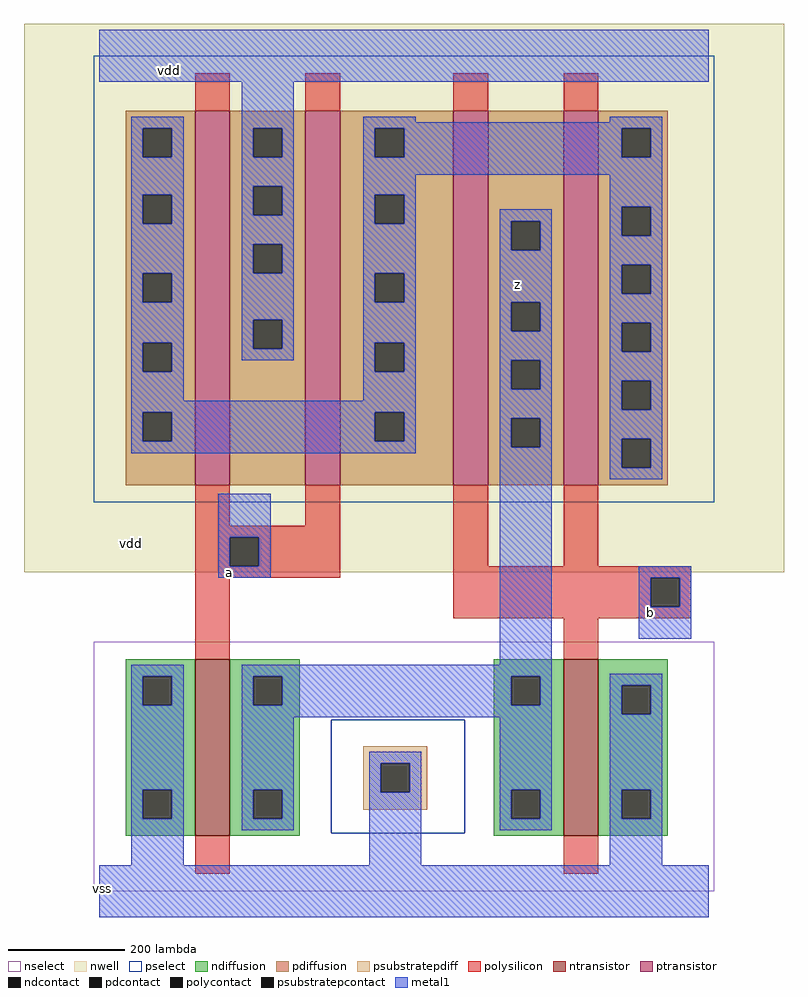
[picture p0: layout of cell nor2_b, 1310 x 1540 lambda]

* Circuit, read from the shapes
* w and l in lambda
.subckt nor2_b z a b vdd vss
M1 z a vss vss nfet w=305 l=60
M2 vss b z vss nfet w=305 l=60
M3 vdd a n1 vdd pfet w=645 l=60 m=2
M4 z b n1 vdd pfet w=645 l=60 m=2
.ends

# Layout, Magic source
magic
tech amic5n
<< nwell >>
rect -130 550 1180 1495
<< ntransistor >>
rect 165 95 225 400
rect 800 95 860 400
<< ptransistor >>
rect 165 700 225 1345
rect 355 700 415 1345
rect 610 700 670 1345
rect 800 700 860 1345
<< nselect >>
rect -10 295 1060 430
rect -10 100 400 295
rect 630 100 1060 295
rect -10 0 1060 100
<< pselect >>
rect -10 670 1060 1440
rect 400 100 630 295
<< ndiffusion >>
rect 45 370 165 400
rect 45 320 75 370
rect 125 320 165 370
rect 45 175 165 320
rect 45 125 75 175
rect 125 125 165 175
rect 45 95 165 125
rect 225 370 345 400
rect 225 320 265 370
rect 315 320 345 370
rect 225 175 345 320
rect 680 370 800 400
rect 680 320 710 370
rect 760 320 800 370
rect 225 125 265 175
rect 315 125 345 175
rect 680 175 800 320
rect 225 95 345 125
rect 680 125 710 175
rect 760 125 800 175
rect 680 95 800 125
rect 860 355 980 400
rect 860 305 900 355
rect 950 305 980 355
rect 860 175 980 305
rect 860 125 900 175
rect 950 125 980 175
rect 860 95 980 125
<< pdiffusion >>
rect 45 1315 165 1345
rect 45 1265 75 1315
rect 125 1265 165 1315
rect 45 1200 165 1265
rect 45 1150 75 1200
rect 125 1150 165 1200
rect 45 1065 165 1150
rect 45 1015 75 1065
rect 125 1015 165 1065
rect 45 945 165 1015
rect 45 895 75 945
rect 125 895 165 945
rect 45 825 165 895
rect 45 775 75 825
rect 125 775 165 825
rect 45 700 165 775
rect 225 1315 355 1345
rect 225 1265 265 1315
rect 315 1265 355 1315
rect 225 1215 355 1265
rect 225 1165 265 1215
rect 315 1165 355 1215
rect 225 1115 355 1165
rect 225 1065 265 1115
rect 315 1065 355 1115
rect 225 985 355 1065
rect 225 935 265 985
rect 315 935 355 985
rect 225 700 355 935
rect 415 1315 610 1345
rect 415 1265 475 1315
rect 525 1265 610 1315
rect 415 1200 610 1265
rect 415 1150 475 1200
rect 525 1150 610 1200
rect 415 1065 610 1150
rect 415 1015 475 1065
rect 525 1015 610 1065
rect 415 945 610 1015
rect 415 895 475 945
rect 525 895 610 945
rect 415 825 610 895
rect 415 775 475 825
rect 525 775 610 825
rect 415 700 610 775
rect 670 1155 800 1345
rect 670 1105 710 1155
rect 760 1105 800 1155
rect 670 1015 800 1105
rect 670 965 710 1015
rect 760 965 800 1015
rect 670 915 800 965
rect 670 865 710 915
rect 760 865 800 915
rect 670 815 800 865
rect 670 765 710 815
rect 760 765 800 815
rect 670 700 800 765
rect 860 1315 980 1345
rect 860 1265 900 1315
rect 950 1265 980 1315
rect 860 1180 980 1265
rect 860 1130 900 1180
rect 950 1130 980 1180
rect 860 1080 980 1130
rect 860 1030 900 1080
rect 950 1030 980 1080
rect 860 980 980 1030
rect 860 930 900 980
rect 950 930 980 980
rect 860 880 980 930
rect 860 830 900 880
rect 950 830 980 880
rect 860 780 980 830
rect 860 730 900 780
rect 950 730 980 780
rect 860 700 980 730
<< psubstratepdiff >>
rect 455 220 565 250
rect 455 170 485 220
rect 535 170 565 220
rect 455 140 565 170
<< psubstratepcontact >>
rect 485 170 535 220
<< ndcontact >>
rect 75 320 125 370
rect 75 125 125 175
rect 265 320 315 370
rect 710 320 760 370
rect 265 125 315 175
rect 710 125 760 175
rect 900 305 950 355
rect 900 125 950 175
<< pdcontact >>
rect 75 1265 125 1315
rect 75 1150 125 1200
rect 75 1015 125 1065
rect 75 895 125 945
rect 75 775 125 825
rect 265 1265 315 1315
rect 265 1165 315 1215
rect 265 1065 315 1115
rect 265 935 315 985
rect 475 1265 525 1315
rect 475 1150 525 1200
rect 475 1015 525 1065
rect 475 895 525 945
rect 475 775 525 825
rect 710 1105 760 1155
rect 710 965 760 1015
rect 710 865 760 915
rect 710 765 760 815
rect 900 1265 950 1315
rect 900 1130 950 1180
rect 900 1030 950 1080
rect 900 930 950 980
rect 900 830 950 880
rect 900 730 950 780
<< polysilicon >>
rect 165 1345 225 1410
rect 355 1345 415 1410
rect 610 1345 670 1410
rect 800 1345 860 1410
rect 165 630 225 700
rect 355 630 415 700
rect 165 610 415 630
rect 165 560 225 610
rect 275 560 415 610
rect 165 540 415 560
rect 610 560 670 700
rect 800 560 860 700
rect 610 540 1020 560
rect 165 400 225 540
rect 610 490 950 540
rect 1000 490 1020 540
rect 610 470 1020 490
rect 800 400 860 470
rect 165 30 225 95
rect 800 30 860 95
<< polycontact >>
rect 225 560 275 610
rect 950 490 1000 540
<< metal1 >>
rect 0 1395 1050 1485
rect 55 1315 145 1335
rect 55 1265 75 1315
rect 125 1265 145 1315
rect 55 1200 145 1265
rect 55 1150 75 1200
rect 125 1150 145 1200
rect 55 1065 145 1150
rect 55 1015 75 1065
rect 125 1015 145 1065
rect 55 945 145 1015
rect 55 895 75 945
rect 125 895 145 945
rect 245 1315 335 1395
rect 245 1265 265 1315
rect 315 1265 335 1315
rect 245 1215 335 1265
rect 245 1165 265 1215
rect 315 1165 335 1215
rect 245 1115 335 1165
rect 245 1065 265 1115
rect 315 1065 335 1115
rect 245 985 335 1065
rect 245 935 265 985
rect 315 935 335 985
rect 245 915 335 935
rect 455 1325 545 1335
rect 880 1325 970 1335
rect 455 1315 970 1325
rect 455 1265 475 1315
rect 525 1265 900 1315
rect 950 1265 970 1315
rect 455 1235 970 1265
rect 455 1200 545 1235
rect 455 1150 475 1200
rect 525 1150 545 1200
rect 880 1180 970 1235
rect 455 1065 545 1150
rect 455 1015 475 1065
rect 525 1015 545 1065
rect 455 945 545 1015
rect 55 845 145 895
rect 455 895 475 945
rect 525 895 545 945
rect 455 845 545 895
rect 55 825 545 845
rect 55 775 75 825
rect 125 775 475 825
rect 525 775 545 825
rect 55 755 545 775
rect 690 1155 780 1175
rect 690 1105 710 1155
rect 760 1105 780 1155
rect 690 1015 780 1105
rect 690 965 710 1015
rect 760 965 780 1015
rect 690 915 780 965
rect 690 865 710 915
rect 760 865 780 915
rect 690 815 780 865
rect 690 765 710 815
rect 760 765 780 815
rect 205 610 295 685
rect 205 560 225 610
rect 275 560 295 610
rect 205 540 295 560
rect 690 390 780 765
rect 880 1130 900 1180
rect 950 1130 970 1180
rect 880 1080 970 1130
rect 880 1030 900 1080
rect 950 1030 970 1080
rect 880 980 970 1030
rect 880 930 900 980
rect 950 930 970 980
rect 880 880 970 930
rect 880 830 900 880
rect 950 830 970 880
rect 880 780 970 830
rect 880 730 900 780
rect 950 730 970 780
rect 880 710 970 730
rect 930 540 1020 560
rect 930 490 950 540
rect 1000 490 1020 540
rect 930 435 1020 490
rect 55 370 145 390
rect 55 320 75 370
rect 125 320 145 370
rect 55 175 145 320
rect 55 125 75 175
rect 125 125 145 175
rect 55 45 145 125
rect 245 370 780 390
rect 245 320 265 370
rect 315 320 710 370
rect 760 320 780 370
rect 245 300 780 320
rect 245 175 335 300
rect 245 125 265 175
rect 315 125 335 175
rect 245 105 335 125
rect 465 220 555 240
rect 465 170 485 220
rect 535 170 555 220
rect 465 45 555 170
rect 690 175 780 300
rect 690 125 710 175
rect 760 125 780 175
rect 690 105 780 125
rect 880 355 970 375
rect 880 305 900 355
rect 950 305 970 355
rect 880 175 970 305
rect 880 125 900 175
rect 950 125 970 175
rect 880 45 970 125
rect 0 -45 1050 45
<< labels >>
flabel metal1 s 720 1045 720 1045 2 FreeSans 400 0 0 0 z
port 0 ne
flabel metal1 s 950 480 950 480 2 FreeSans 400 0 0 0 b
port 2 ne
flabel metal1 s 120 1415 120 1415 2 FreeSans 400 0 0 0 vdd
port 3 ne
flabel nwell 55 600 55 600 8 FreeSans 400 180 0 0 vdd
flabel metal1 s 225 550 225 550 2 FreeSans 400 0 0 0 a
port 1 ne
flabel metal1 s 5 5 5 5 2 FreeSans 400 0 0 0 vss
port 4 ne
<< properties >>
string FIXED_BBOX 0 0 1050 1440
string LEFsite core
string LEFclass CORE
string LEFsymmetry X Y
<< end >>
